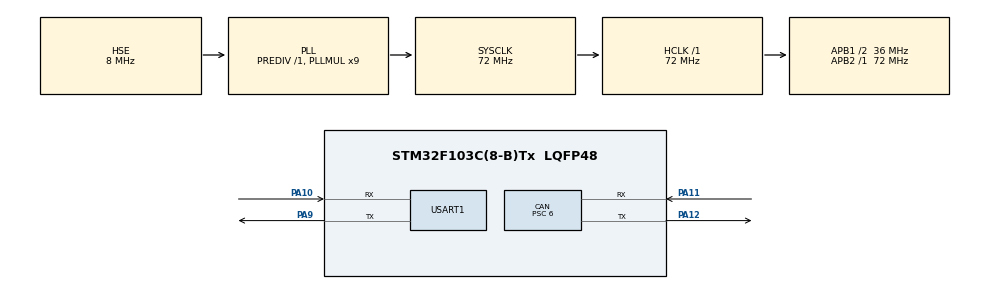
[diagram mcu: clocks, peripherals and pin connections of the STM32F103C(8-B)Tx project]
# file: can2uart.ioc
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Mcu.Family=STM32F1
RCC.PLLSourceVirtual=RCC_PLLSOURCE_HSE
NVIC.CAN1_RX1_IRQn=true\:0\:0\:false\:true\:true\:4\:true\:true
TIM4.AutoReloadPreload=TIM_AUTORELOAD_PRELOAD_ENABLE
PD1-OSC_OUT.Mode=HSE-External-Oscillator
PA10.Mode=Asynchronous
CAN.CalculateBaudRate=500000
RCC.USBPrescaler=RCC_USBCLKSOURCE_PLL_DIV1_5
PA11.Mode=CAN_Activate
CAN.SJW=CAN_SJW_2TQ
PD0-OSC_IN.Signal=RCC_OSC_IN
RCC.APB1CLKDivider=RCC_HCLK_DIV2
CAN.CalculateTimeBit=1999.99
RCC.SYSCLKSource=RCC_SYSCLKSOURCE_PLLCLK
ProjectManager.StackSize=0x800
PD1-OSC_OUT.Signal=RCC_OSC_OUT
PA13.Signal=SYS_JTMS-SWDIO
PA9.Mode=Asynchronous
PA12.Signal=CAN_TX
CAN.BS2=CAN_BS2_3TQ
CAN.Prescaler=6
CAN.BS1=CAN_BS1_8TQ
ProjectManager.TargetToolchain=STM32CubeIDE
RCC.HCLKFreq_Value=72000000
RCC.APB2TimFreq_Value=72000000
PA9.Signal=USART1_TX
RCC.USBFreq_Value=48000000
TIM4.Prescaler=7200
RCC.AHBFreq_Value=72000000
PD0-OSC_IN.Mode=HSE-External-Oscillator
board=custom
RCC.PLLMUL=RCC_PLL_MUL9
RCC.APB2Freq_Value=72000000
PA14.Mode=Serial_Wire
NVIC.USB_LP_CAN1_RX0_IRQn=true\:0\:0\:false\:true\:true\:2\:true\:true
CAN.NART=ENABLE
TIM4.Period=50
PA13.Mode=Serial_Wire
Mcu.Name=STM32F103C(8-B)Tx
CAN.CalculateTimeQuantum=166.66666666666669
RCC.SYSCLKFreq_VALUE=72000000
Mcu.Package=LQFP48
PA12.Mode=CAN_Activate
USART1.VirtualMode=VM_ASYNC
PA11.Signal=CAN_RX
PA14.Signal=SYS_JTCK-SWCLK
PA10.Signal=USART1_RX
ProjectManager.HeapSize=0x400
VP_TIM4_VS_ClockSourceINT.Mode=Internal
NVIC.PriorityGroup=NVIC_PRIORITYGROUP_4
RCC.APB1TimFreq_Value=72000000
CAN.AWUM=ENABLE
NVIC.USART1_IRQn=true\:0\:0\:false\:true\:true\:3\:true\:true
NVIC.TIM4_IRQn=true\:0\:0\:false\:true\:true\:1\:true\:true
RCC.APB1Freq_Value=36000000
NVIC.RCC_IRQn=true\:0\:0\:false\:false\:true\:true\:false

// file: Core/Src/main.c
/* USER CODE BEGIN Header */
/**
  ******************************************************************************
  * @file           : main.c
  * @brief          : Main program body
  ******************************************************************************
  * @attention
  *
  * <h2><center>&copy; Copyright (c) 2021 STMicroelectronics.
  * All rights reserved.</center></h2>
  *
  * This software component is licensed by ST under BSD 3-Clause license,
  * the "License"; You may not use this file except in compliance with the
  * License. You may obtain a copy of the License at:
  *                        opensource.org/licenses/BSD-3-Clause
  *
  ******************************************************************************
  */
/* USER CODE END Header */
#include "main.h"

/* USER CODE BEGIN Includes */
#include "Task.h"
/* USER CODE END Includes */

CAN_HandleTypeDef hcan;

TIM_HandleTypeDef htim4;

UART_HandleTypeDef huart1;

void SystemClock_Config(void);
static void MX_GPIO_Init(void);
static void MX_CAN_Init(void);
static void MX_TIM4_Init(void);
static void MX_USART1_UART_Init(void);
static void MX_NVIC_Init(void);

/* USER CODE BEGIN 0 */
void delay (int a)
{
  volatile int i,j;
  for (i=0 ; i < a ; i++)
  {
     j++;
  }
  return;
}

void HAL_TIM_PeriodElapsedCallback(TIM_HandleTypeDef *htim)
{
	if(htim->Instance == TIM4)
	{
	    Task_Manager_IT();
	}
}

uint8_t UART1_rxBuffer[40] = {0};
uint8_t UART1_pos=0;

unsigned char canMailBox;
unsigned char * pTxMailbox=&canMailBox;
void HAL_UART_RxCpltCallback(UART_HandleTypeDef *huart)
{
	unsigned char echo = 1;
	unsigned char CanDlc=0;
	unsigned int CanId;
	unsigned char CanData[8];

    CAN_TxHeaderTypeDef canHeader;

	if(huart->Instance == USART1)
	{

        if( (UART1_rxBuffer[UART1_pos] == '\n') || (UART1_rxBuffer[UART1_pos] == '\r') || (UART1_pos >= 40) )
        {
    	    HAL_UART_Transmit(&huart1, (uint8_t*)"received: ", 10, 100);
            HAL_UART_Transmit(&huart1, UART1_rxBuffer, UART1_pos, 100);
    	    HAL_UART_Transmit(&huart1, (uint8_t*)"\n", 1, 100);

            //Uart2can_RxIndication(UART1_rxBuffer);
    	    if( Uart2can_Extract(UART1_rxBuffer, &CanId, &CanDlc, CanData) == 0)
    	    {
    	    	canHeader.StdId = CanId;
    	    	canHeader.DLC = CanDlc;
    	        HAL_CAN_AddTxMessage(&hcan, &canHeader, CanData, pTxMailbox);
    	    }
    	    UART1_pos = 0;
        }
        else if( UART1_rxBuffer[UART1_pos] == '\177' )
		{
        	if(UART1_pos > 0)
              UART1_pos--;
		}
        else
        {
        	UART1_pos++;
        }

        if( echo == 1 )
        {
            HAL_UART_Transmit(&huart1, UART1_rxBuffer[UART1_pos], 1, 100);
        }

        canHeader.StdId = 0x100;
        canHeader.ExtId = 0;
        canHeader.IDE = CAN_ID_STD;
        canHeader.RTR = CAN_RTR_DATA;
        canHeader.DLC=8;
        canHeader.TransmitGlobalTime = DISABLE;

        /* Reenable uart1 interrupt */
        HAL_UART_Receive_IT(&huart1, &UART1_rxBuffer[UART1_pos], 1);
	}
}

void HAL_CAN_RxFifo1MsgPendingCallback(CAN_HandleTypeDef *hcan)
{
  CAN_RxHeaderTypeDef CanHeader;
  uint8_t CanRxData[8];

}

void HAL_CAN_RxFifo0MsgPendingCallback(CAN_HandleTypeDef *hcan)
{
  CAN_RxHeaderTypeDef CanHeader;
  uint8_t CanRxData[8];

  HAL_CAN_GetRxMessage(hcan, CAN_RX_FIFO0, &CanHeader, CanRxData);

  HAL_UART_Transmit(&huart1, (uint8_t*)"received can message: ", 22, 100);
  HAL_UART_Transmit(&huart1, ((CanHeader.StdId>>8)&0xFF+'0'), 1, 100);
  HAL_UART_Transmit(&huart1, (CanHeader.StdId&0xFF+'0'), 3, 100);
  HAL_UART_Transmit(&huart1, CanHeader.DLC,   1, 100);
  HAL_UART_Transmit(&huart1, CanRxData[0], 2, 100);

  HAL_UART_Transmit(&huart1, (uint8_t*)"\n", 1, 100);

  if (CanHeader.IDE == CAN_ID_STD )
  {
      // Traitement des donnéess

  }
}
/* USER CODE END 0 */

int main(void)
{
  /* USER CODE BEGIN 1 */
  unsigned char str_buff[15] ={0};

  CAN_TxHeaderTypeDef canHeader;
  unsigned char canBuff[8]={1, 2, 3, 4, 5, 6, 7, 8};
  unsigned char canMailBox;
  unsigned char * pTxMailbox=&canMailBox;
  /* USER CODE END 1 */

  /* MCU Configuration--------------------------------------------------------*/

  /* Reset of all peripherals, Initializes the Flash interface and the Systick. */
  HAL_Init();

  /* Configure the system clock */
  SystemClock_Config();

  /* Initialize all configured peripherals */
  MX_GPIO_Init();
  MX_CAN_Init();
  MX_TIM4_Init();
  MX_USART1_UART_Init();

  /* Initialize interrupts */
  MX_NVIC_Init();
  /* USER CODE BEGIN 2 */

  /* Configure the CAN Filter */
  {
    CAN_FilterTypeDef  sFilterConfig;
    sFilterConfig.FilterBank = 0;
    sFilterConfig.FilterMode = CAN_FILTERMODE_IDMASK;
    sFilterConfig.FilterScale = CAN_FILTERSCALE_32BIT;
    sFilterConfig.FilterIdHigh = 0x0000;
    sFilterConfig.FilterIdLow = 0x0000;
    sFilterConfig.FilterMaskIdHigh = 0x0000;
    sFilterConfig.FilterMaskIdLow = 0x0000;
    sFilterConfig.FilterFIFOAssignment = CAN_RX_FIFO0;
    sFilterConfig.FilterActivation = ENABLE;
    sFilterConfig.SlaveStartFilterBank = 14;

    if (HAL_CAN_ConfigFilter(&hcan, &sFilterConfig) != HAL_OK)
    {
      /* Filter configuration Error */
      Error_Handler();
    }

    /* Start the CAN peripheral */
  //  if (HAL_CAN_Start(&hcan) != HAL_OK)
  //  {
  //    /* Start Error */
  //    Error_Handler();
  //  }

    /* Activate CAN RX notification */
    if (HAL_CAN_ActivateNotification(&hcan, CAN_IT_RX_FIFO0_MSG_PENDING) != HAL_OK)
    {
      /* Notification Error */
      Error_Handler();
    }

    /* Configure Transmission process */
    canHeader.StdId = 0x321;
    canHeader.ExtId = 0x01;
    canHeader.RTR = CAN_RTR_DATA;
    canHeader.IDE = CAN_ID_STD;
    canHeader.DLC = 2;
    canHeader.TransmitGlobalTime = DISABLE;

  }
  HAL_TIM_Base_Start_IT(&htim4);

//  HAL_CAN_Start(&hcan); //start CAN
//  HAL_CAN_ActivateNotification(&hcan, CAN_IT_RX_FIFO0_MSG_PENDING); //enable interrupts

  hcan.Instance->MCR = 0x60; //IMPORTANT FOR DEBUG!!!!!!!
  TaskManager_Init();

  HAL_UART_Receive_IT (&huart1, UART1_rxBuffer, 1);
  HAL_UART_Transmit(&huart1, (uint8_t *)"welcome\r\n", 9, 100);

  //HAL_CAN_WakeUp(&hcan);

  canHeader.StdId = 0x012;
  canHeader.ExtId = 0x21;
  canHeader.IDE = CAN_ID_STD;
  canHeader.RTR = 0;
  canHeader.DLC=1;
  canHeader.TransmitGlobalTime = DISABLE;

  HAL_CAN_AddTxMessage(&hcan, &canHeader, canBuff, pTxMailbox);

//  CDC_Transmit_FS((uint8_t*)"USB serial initialized\n", 23);

  /* USER CODE END 2 */

  /* Infinite loop */
  while (1)
  {

    /* USER CODE BEGIN 3 */
    TaskManager();

    {
        uint32_t TxMailbox;
        uint8_t TxData[8];
        CAN_TxHeaderTypeDef TxMessage;

        TxData[0] = 0xAB;
        TxData[1] = 0xCD;

        TxMessage.DLC = 2;
		TxMessage.IDE = CAN_ID_STD;
		TxMessage.RTR = 0;
		TxMessage.StdId = 0x234;
		TxMessage.TransmitGlobalTime = DISABLE;

     //   HAL_CAN_AddTxMessage(&hcan, &TxMessage, TxData, &TxMailbox);
    }
    //HAL_Delay(1000);
  }
  /* USER CODE END 3 */
}

void SystemClock_Config(void)
{
  RCC_OscInitTypeDef RCC_OscInitStruct = {0};
  RCC_ClkInitTypeDef RCC_ClkInitStruct = {0};

  /** Initializes the RCC Oscillators according to the specified parameters
  * in the RCC_OscInitTypeDef structure.
  */
  RCC_OscInitStruct.OscillatorType = RCC_OSCILLATORTYPE_HSE;
  RCC_OscInitStruct.HSEState = RCC_HSE_ON;
  RCC_OscInitStruct.HSEPredivValue = RCC_HSE_PREDIV_DIV1;
  RCC_OscInitStruct.HSIState = RCC_HSI_ON;
  RCC_OscInitStruct.PLL.PLLState = RCC_PLL_ON;
  RCC_OscInitStruct.PLL.PLLSource = RCC_PLLSOURCE_HSE;
  RCC_OscInitStruct.PLL.PLLMUL = RCC_PLL_MUL9;
  if (HAL_RCC_OscConfig(&RCC_OscInitStruct) != HAL_OK)
  {
    Error_Handler();
  }
  /** Initializes the CPU, AHB and APB buses clocks
  */
  RCC_ClkInitStruct.ClockType = RCC_CLOCKTYPE_HCLK|RCC_CLOCKTYPE_SYSCLK
                              |RCC_CLOCKTYPE_PCLK1|RCC_CLOCKTYPE_PCLK2;
  RCC_ClkInitStruct.SYSCLKSource = RCC_SYSCLKSOURCE_PLLCLK;
  RCC_ClkInitStruct.AHBCLKDivider = RCC_SYSCLK_DIV1;
  RCC_ClkInitStruct.APB1CLKDivider = RCC_HCLK_DIV2;
  RCC_ClkInitStruct.APB2CLKDivider = RCC_HCLK_DIV1;

  if (HAL_RCC_ClockConfig(&RCC_ClkInitStruct, FLASH_LATENCY_2) != HAL_OK)
  {
    Error_Handler();
  }
}

/**
  * @brief NVIC Configuration.
  * @retval None
  */
static void MX_NVIC_Init(void)
{
  /* TIM4_IRQn interrupt configuration */
  HAL_NVIC_SetPriority(TIM4_IRQn, 0, 0);
  HAL_NVIC_EnableIRQ(TIM4_IRQn);
  /* USB_LP_CAN1_RX0_IRQn interrupt configuration */
  HAL_NVIC_SetPriority(USB_LP_CAN1_RX0_IRQn, 0, 0);
  HAL_NVIC_EnableIRQ(USB_LP_CAN1_RX0_IRQn);
  /* USART1_IRQn interrupt configuration */
  HAL_NVIC_SetPriority(USART1_IRQn, 0, 0);
  HAL_NVIC_EnableIRQ(USART1_IRQn);
  /* CAN1_RX1_IRQn interrupt configuration */
  HAL_NVIC_SetPriority(CAN1_RX1_IRQn, 0, 0);
  HAL_NVIC_EnableIRQ(CAN1_RX1_IRQn);
}

static void MX_CAN_Init(void)
{

  hcan.Instance = CAN1;
  hcan.Init.Prescaler = 6;
  hcan.Init.Mode = CAN_MODE_NORMAL;
  hcan.Init.SyncJumpWidth = CAN_SJW_2TQ;
  hcan.Init.TimeSeg1 = CAN_BS1_8TQ;
  hcan.Init.TimeSeg2 = CAN_BS2_3TQ;
  hcan.Init.TimeTriggeredMode = DISABLE;
  hcan.Init.AutoBusOff = DISABLE;
  hcan.Init.AutoWakeUp = ENABLE;
  hcan.Init.AutoRetransmission = ENABLE;
  hcan.Init.ReceiveFifoLocked = DISABLE;
  hcan.Init.TransmitFifoPriority = DISABLE;
  if (HAL_CAN_Init(&hcan) != HAL_OK)
  {
    Error_Handler();
  }

}

static void MX_TIM4_Init(void)
{

  TIM_ClockConfigTypeDef sClockSourceConfig = {0};
  TIM_MasterConfigTypeDef sMasterConfig = {0};

  htim4.Instance = TIM4;
  htim4.Init.Prescaler = 7200;
  htim4.Init.CounterMode = TIM_COUNTERMODE_UP;
  htim4.Init.Period = 50;
  htim4.Init.ClockDivision = TIM_CLOCKDIVISION_DIV1;
  htim4.Init.AutoReloadPreload = TIM_AUTORELOAD_PRELOAD_ENABLE;
  if (HAL_TIM_Base_Init(&htim4) != HAL_OK)
  {
    Error_Handler();
  }
  sClockSourceConfig.ClockSource = TIM_CLOCKSOURCE_INTERNAL;
  if (HAL_TIM_ConfigClockSource(&htim4, &sClockSourceConfig) != HAL_OK)
  {
    Error_Handler();
  }
  sMasterConfig.MasterOutputTrigger = TIM_TRGO_RESET;
  sMasterConfig.MasterSlaveMode = TIM_MASTERSLAVEMODE_DISABLE;
  if (HAL_TIMEx_MasterConfigSynchronization(&htim4, &sMasterConfig) != HAL_OK)
  {
    Error_Handler();
  }

}

static void MX_USART1_UART_Init(void)
{

  huart1.Instance = USART1;
  huart1.Init.BaudRate = 115200;
  huart1.Init.WordLength = UART_WORDLENGTH_8B;
  huart1.Init.StopBits = UART_STOPBITS_1;
  huart1.Init.Parity = UART_PARITY_NONE;
  huart1.Init.Mode = UART_MODE_TX_RX;
  huart1.Init.HwFlowCtl = UART_HWCONTROL_NONE;
  huart1.Init.OverSampling = UART_OVERSAMPLING_16;
  if (HAL_UART_Init(&huart1) != HAL_OK)
  {
    Error_Handler();
  }

}

static void MX_GPIO_Init(void)
{

  /* GPIO Ports Clock Enable */
  __HAL_RCC_GPIOD_CLK_ENABLE();
  __HAL_RCC_GPIOA_CLK_ENABLE();

}

void Error_Handler(void)
{
  __disable_irq();
  while (1)
  {
  }
}

/************************ (C) COPYRIGHT STMicroelectronics *****END OF FILE****/
